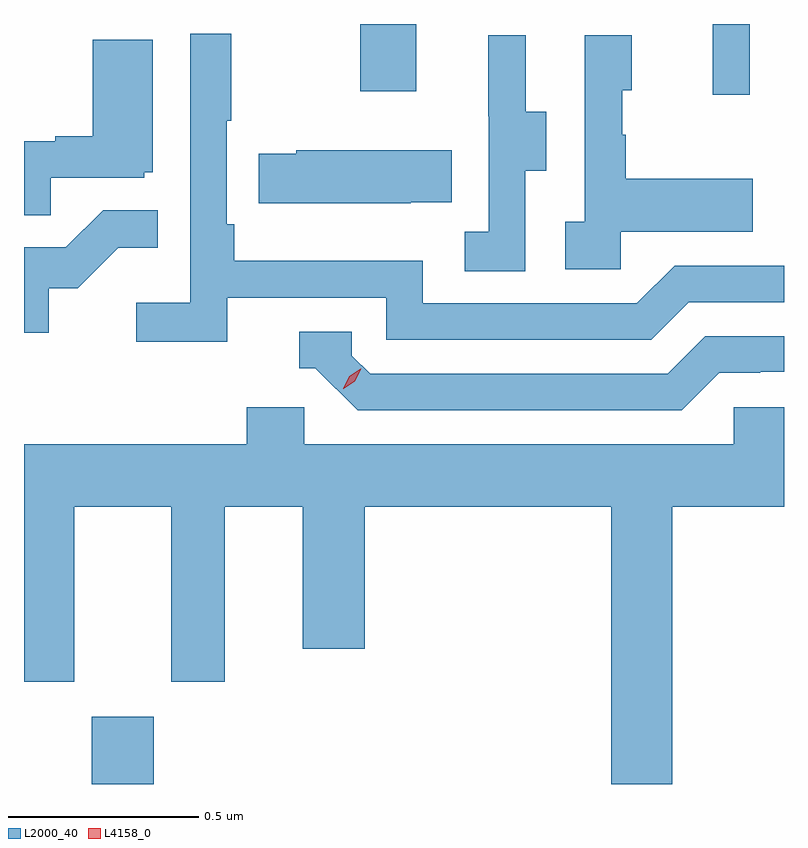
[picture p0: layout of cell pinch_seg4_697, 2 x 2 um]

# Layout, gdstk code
import gdstk
lib = gdstk.Library(unit=1e-6, precision=1e-09)
def R(c, l, rs):  # rectangles x0, y0, x1, y1
    for r in rs: c.add(gdstk.rectangle(r[:2], r[2:], *l))
def P(c, l, *ps):  # polygons
    for p in ps: c.add(gdstk.Polygon(p, *l))
L2000_40 = (2000, 40)
L4158_0 = (4158, 0)

pinch_seg4_697 = lib.new_cell('pinch_seg4_697')
R(pinch_seg4_697, L2000_40, [(1111.505,758.794,1111.669,758.971), (1113.14,760.608,1113.237,760.794), (1112.212,760.617,1112.359,760.794)])
P(pinch_seg4_697, L2000_40, [(1111.862,760.074),(1112.28,760.074),(1112.28,759.963),(1112.977,759.963),(1113.076,760.062),(1113.327,760.062),(1113.327,760.158),(1113.039,760.158),(1112.94,760.059),(1112.376,760.059),(1112.376,760.171),(1111.88,760.171),(1111.88,760.267),(1111.86,760.267),(1111.86,760.54),(1111.873,760.54),(1111.873,760.768),(1111.764,760.768),(1111.764,760.06),(1111.623,760.06),(1111.623,759.958),(1111.862,759.958)],
  [(1112.646,760.408),(1112.701,760.408),(1112.701,760.563),(1112.647,760.563),(1112.647,760.765),(1112.549,760.765),(1112.549,760.551),(1112.55,760.551),(1112.55,760.247),(1112.487,760.247),(1112.487,760.144),(1112.646,760.144)],
  [(1112.898,760.247),(1113.245,760.247),(1113.245,760.387),(1112.911,760.387),(1112.911,760.502),(1112.901,760.502),(1112.901,760.62),(1112.926,760.62),(1112.926,760.765),(1112.802,760.765),(1112.802,760.274),(1112.751,760.274),(1112.751,760.149),(1112.898,760.149)],
  [(1111.397,760.389),(1111.644,760.389),(1111.644,760.404),(1111.666,760.404),(1111.666,760.753),(1111.508,760.753),(1111.508,760.498),(1111.409,760.498),(1111.409,760.485),(1111.327,760.485),(1111.327,760.291),(1111.397,760.291)],
  [(1112.345,760.325),(1112.453,760.325),(1112.453,760.462),(1112.043,760.462),(1112.043,760.452),(1111.945,760.452),(1111.945,760.322),(1112.345,760.322)],
  [(1111.392,760.098),(1111.468,760.098),(1111.575,760.205),(1111.679,760.205),(1111.679,760.304),(1111.535,760.304),(1111.437,760.206),(1111.327,760.206),(1111.327,759.981),(1111.392,759.981)],
  [(1113.157,759.876),(1113.264,759.876),(1113.264,759.879),(1113.327,759.879),(1113.327,759.972),(1113.12,759.972),(1113.021,759.873),(1112.238,759.873),(1112.19,759.921),(1112.19,759.984),(1112.051,759.984),(1112.051,759.888),(1112.094,759.888),(1112.205,759.777),(1113.058,759.777)],
  [(1113.033,759.524),(1113.327,759.524),(1113.327,759.786),(1113.195,759.786),(1113.195,759.688),(1112.064,759.688),(1112.064,759.786),(1111.913,759.786),(1111.913,759.688),(1111.327,759.688),(1111.327,759.063),(1111.459,759.063),(1111.459,759.524),(1111.715,759.524),(1111.715,759.063),(1111.855,759.063),(1111.855,759.524),(1112.06,759.524),(1112.06,759.15),(1112.224,759.15),(1112.224,759.524),(1112.873,759.524),(1112.873,758.794),(1113.033,758.794)])
P(pinch_seg4_697, L4158_0, [(1112.167,759.834),(1112.167,759.835),(1112.183,759.867),(1112.213,759.887),(1112.214,759.887),(1112.214,759.887),(1112.198,759.854),(1112.168,759.834)])

lib.write_gds('pinch_seg4_697.gds')
